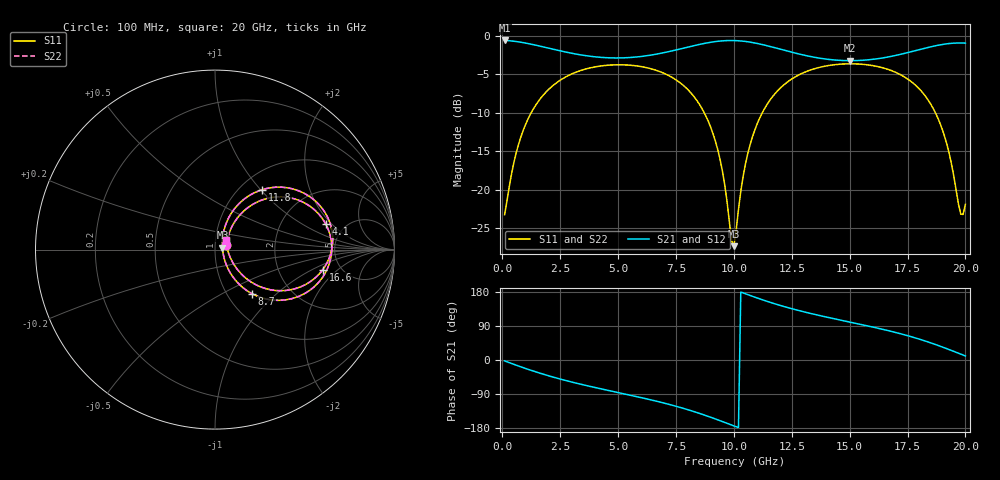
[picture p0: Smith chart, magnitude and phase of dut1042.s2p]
! Touchstone file exported from HFSS 2026.1.0
!  File:  C:/ffzhzh/LocalFiles/Ansys_Project_Files/temp_train_TSV_RDL_1042_1783295805_30076.aedt
!  Generated:  08:09:58 AM Jul  6, 2026
!  Design:  TSV_RDL
!  Project:  temp_train_TSV_RDL_1042_1783295805_30076
! Variables:
!  h_bsmrdl = 2.78um
!  h_ox = 20um
!  h_rdl = 5um
!  h_sub = 75.4um
!  h_tmrdl = 2.11um
!  h_tsv = 75.4um
!  h_via = 3um
!  l_bsmrdl = 426.96um
!  l_sub = 5633.83um
!  l_tmrdl = 966.27um
!  m_sub = 200um
!  pitch = 51.87um
!  r_tsv = 12.8um
!  s_tmrdl = 10um
!  w_bsmrdl = 18.02um
!  w_sub = 500um
!  w_tmrdl = 11.27um
!  x_tsv_center1 = 971.905um
!  x_tsv_center2 = 1416.885um
!  x_tsv_center3 = 2394.425um
!  x_tsv_center4 = 2839.405um
!  x_tsv_center5 = 3816.945um
!  x_tsv_center6 = 4261.925um
# GHz S MA R 50.000000
! Terminal data exported
! Port[1] = TM_RDL1_1_T1
! Port[2] = TM_RDL5_1_T1
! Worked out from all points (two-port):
!   200 points, 100 MHz to 20 GHz, reference 50 ohm
!   highest |S21| = -0.57 dB at 100 MHz (marker M1); lowest = -3.2 dB at 15 GHz (marker M2)
!   |S21| within 3 dB of the highest: start of sweep to end of sweep
!   lowest |S11| = -27.4 dB at 10 GHz (marker M3), VSWR 1.09, Z = 54.3 + j1.13 ohm
!   |S11| at or under -10 dB: start of sweep to 1.248 GHz; 8.723 GHz to 11.23 GHz (2.505 GHz wide, 25.1 % of centre); 18.71 GHz to end of sweep
!   |S22| runs from -27.4 to -3.6 dB; largest |S21 - S12| = 1.6e-14
!   S11 on the Smith chart (normalised r, x): 100 MHz: 1.13, +0.06; 4.1 GHz: 3.61, +1.70; 8.7 GHz: 1.30, -0.71; 11.8 GHz: 1.25, +1.02; 16.6 GHz: 3.65, -1.29; 20 GHz: 1.12, +0.12
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0.1  0.06863 21.6  0.9369 -2.3  0.9369 -2.3  0.06863 21.6
! Gamma 0 0 0 0
! Port Impedance 50 0 50 0
0.6  0.1734 54.3  0.9221 -13.7  0.9221 -13.7  0.1734 54.3
1.2  0.3067 51.4  0.889 -26.4  0.889 -26.4  0.3067 51.4
2.2  0.4779 37.9  0.8214 -45.2  0.8214 -45.2  0.4779 37.9
3.5  0.6043 20.3  0.7498 -65.6  0.7498 -65.6  0.6043 20.3
4.1  0.6337 12.8  0.7305 -73.9  0.7305 -73.9  0.6337 12.8
6.8  0.5876 -21.0  0.7701 -110.8  0.7701 -110.8  0.5876 -21.0
8.7  0.3213 -50.0  0.8947 -144.7  0.8947 -144.7  0.3213 -50.0
9.4  0.1584 -56.8  0.9284 -160.0  0.9284 -160.0  0.1584 -56.8
10  0.04278 14.0  0.9354 -173.8  0.9354 -173.8  0.04269 14.0
10.1  0.05424 41.2  0.9342 -176.1  0.9342 -176.1  0.05415 41.2
10.4  0.1217 65.3  0.9267 177.1  0.9267 177.1  0.1216 65.4
10.7  0.1956 66.7  0.9137 170.3  0.9137 170.3  0.1955 66.7
11.8  0.4254 51.7  0.8379 147.7  0.8379 147.7  0.4254 51.7
13.4  0.6078 28.6  0.7317 121.6  0.7317 121.6  0.6078 28.6
15  0.6599 9.0  0.6918 100.2  0.6918 100.2  0.6599 9.0
16.6  0.6111 -10.5  0.7282 78.5  0.7282 78.5  0.611 -10.5
16.7  0.6041 -11.8  0.733 77.0  0.733 77.0  0.6041 -11.8
18.6  0.3398 -38.6  0.8582 43.2  0.8582 43.2  0.3398 -38.6
19.2  0.1972 -42.7  0.8909 29.8  0.8909 29.8  0.1971 -42.8
19.8  0.06916 1.0  0.9024 15.5  0.9024 15.5  0.06882 0.9
20  0.08018 41.8  0.9002 10.7  0.9002 10.7  0.07987 41.9
